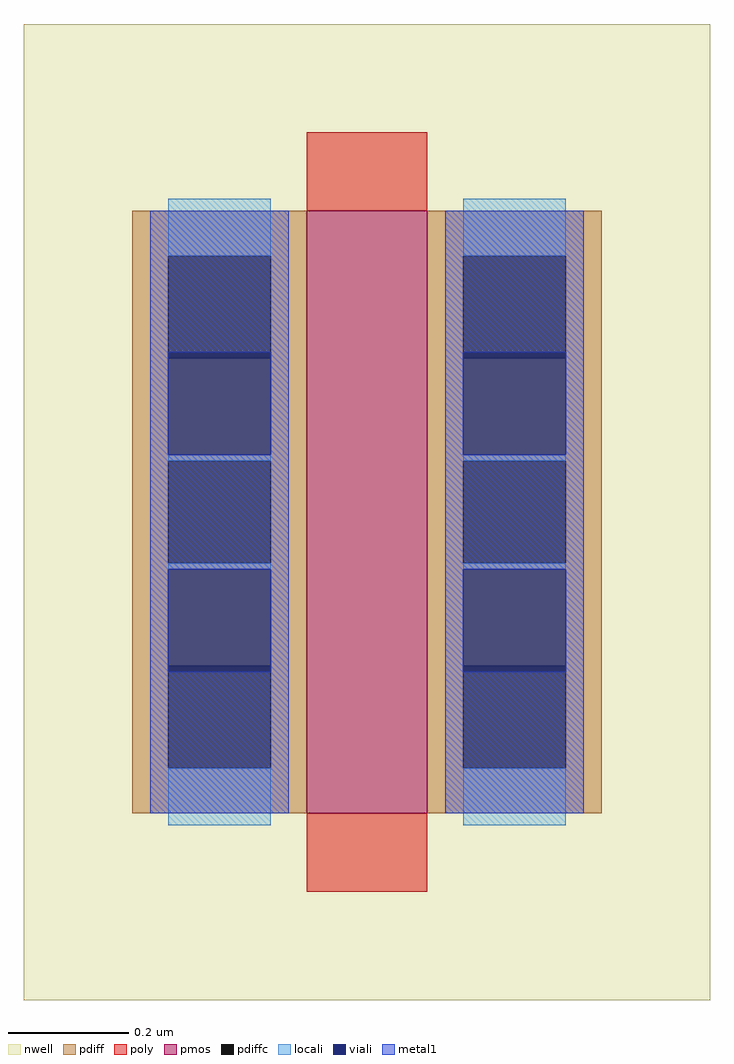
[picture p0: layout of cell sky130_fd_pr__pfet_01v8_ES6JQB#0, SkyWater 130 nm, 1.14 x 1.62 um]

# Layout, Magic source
magic
tech sky130A
magscale 1 2
<< nwell >>
rect -114 -162 114 162
<< pmos >>
rect -20 -100 20 100
<< pdiff >>
rect -78 85 -20 100
rect -78 51 -66 85
rect -32 51 -20 85
rect -78 17 -20 51
rect -78 -17 -66 17
rect -32 -17 -20 17
rect -78 -51 -20 -17
rect -78 -85 -66 -51
rect -32 -85 -20 -51
rect -78 -100 -20 -85
rect 20 85 78 100
rect 20 51 32 85
rect 66 51 78 85
rect 20 17 78 51
rect 20 -17 32 17
rect 66 -17 78 17
rect 20 -51 78 -17
rect 20 -85 32 -51
rect 66 -85 78 -51
rect 20 -100 78 -85
<< pdiffc >>
rect -66 51 -32 85
rect -66 -17 -32 17
rect -66 -85 -32 -51
rect 32 51 66 85
rect 32 -17 66 17
rect 32 -85 66 -51
<< poly >>
rect -20 100 20 126
rect -20 -126 20 -100
<< locali >>
rect -66 85 -32 104
rect -66 17 -32 19
rect -66 -19 -32 -17
rect -66 -104 -32 -85
rect 32 85 66 104
rect 32 17 66 19
rect 32 -19 66 -17
rect 32 -104 66 -85
<< viali >>
rect -66 51 -32 53
rect -66 19 -32 51
rect -66 -51 -32 -19
rect -66 -53 -32 -51
rect 32 51 66 53
rect 32 19 66 51
rect 32 -51 66 -19
rect 32 -53 66 -51
<< metal1 >>
rect -72 53 -26 100
rect -72 19 -66 53
rect -32 19 -26 53
rect -72 -19 -26 19
rect -72 -53 -66 -19
rect -32 -53 -26 -19
rect -72 -100 -26 -53
rect 26 53 72 100
rect 26 19 32 53
rect 66 19 72 53
rect 26 -19 72 19
rect 26 -53 32 -19
rect 66 -53 72 -19
rect 26 -100 72 -53
<< end >>
